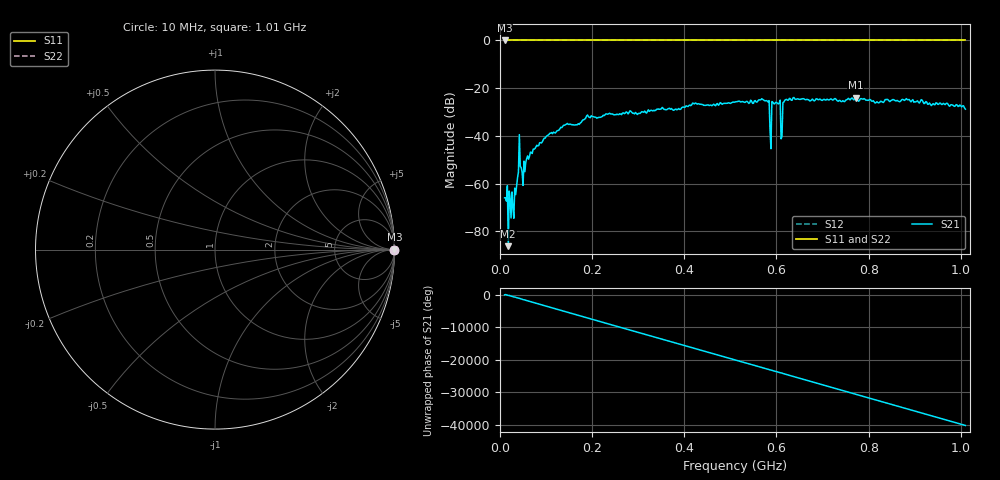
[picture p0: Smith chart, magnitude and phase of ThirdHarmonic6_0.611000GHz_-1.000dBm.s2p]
! 8/15/2025 8:02:10 PM
! C:\ANRITSUVNA\TEMP\TEMP.S2P
! CHANNEL.1
! TR.MEASUREMENT
! RAW.DATA
! RF.CORRECTION.OFF
! AVERAGING.OFF
! IF.BANDWIDTH: 5KHZ
! SWEEPTYPE:  FREQ.SWEEP(Linear)
! Reference Plane Port Info
! PORT:  PORT1  PORT2
! DISTANCE:  0  m  0  m
! TIME:  0  s  0  s
! PHASE.OFFSET:  0  deg.  0  deg.
! LOSS:  0  dB  0  dB
! REF.LOSS:  0  dB  0  dB
! REF.FREQ:  0  Hz  0  Hz
! Power Info
! POWER:  -20  dBm  -20  dBm
! EFF.POWER:  -20  dBm  -20  dBm
! SOURCE.ATTEN:  0  dB  0  dB
! TEST.ATTEN:  0  dB  0  dB
# GHZ S RI R 50.0
! FREQ.GHZ  S11RE  S11IM  S21RE  S21IM  S12RE  S12IM  S22RE  S22IM
!; PortSelection: Port_12
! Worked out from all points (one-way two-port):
!   501 points, 10 MHz to 1.01 GHz, reference 50 ohm
!   highest |S21| = -23.93 dB at 772 MHz (marker M1); lowest = -86.3 dB at 18 MHz (marker M2)
!   lowest |S11| = 0.0 dB at 10 MHz (marker M3)
!   |S11| at or under -10 dB: nowhere
!   |S22| runs from 0.0 to 0.0 dB; largest |S21 - S12| = 1.1
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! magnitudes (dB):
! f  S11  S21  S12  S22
! 10 MHz  0.0  -66.0  0.0  0.0
! 18 MHz  0.0  -86.3  0.0  0.0
! 32 MHz  0.0  -61.9  0.0  0.0
! 38 MHz  0.0  -57.6  0.0  0.0
! 44 MHz  0.0  -52.9  0.0  0.0
! 50 MHz  0.0  -60.8  0.0  0.0
! 104 MHz  0.0  -39.7  0.0  0.0
! 178 MHz  0.0  -33.8  0.0  0.0
! 344 MHz  0.0  -28.7  0.0  0.0
! 510 MHz  0.0  -25.8  0.0  0.0
! 580 MHz  0.0  -25.4  0.0  0.0
! 584 MHz  0.0  -25.2  0.0  0.0
! 590 MHz  0.0  -25.6  0.0  0.0
! 594 MHz  0.0  -26.5  0.0  0.0
! 604 MHz  0.0  -26.6  0.0  0.0
! 608 MHz  0.0  -25.0  0.0  0.0
! 614 MHz  0.0  -26.0  0.0  0.0
! 618 MHz  0.0  -25.1  0.0  0.0
! 678 MHz  0.0  -24.6  0.0  0.0
! 772 MHz  0.0  -23.9  0.0  0.0
! 844 MHz  0.0  -25.3  0.0  0.0
! 1.01 GHz  0.0  -28.8  0.0  0.0
